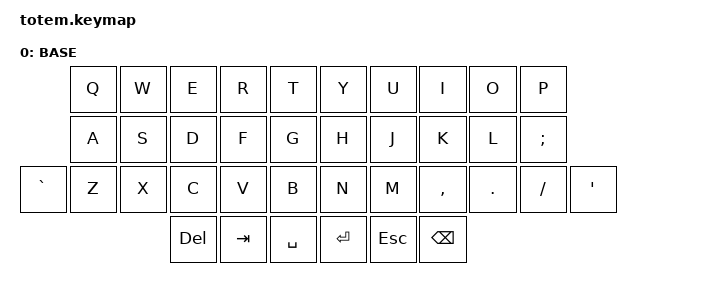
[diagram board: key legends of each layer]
//
//                                                        ▀▀▀▀▀     ▀▀▀▀▀          ▀▀█▀▀
//                                                        ▄▀▀▀▄  ▄  ▄▀▀▀▄  ▄  ▄▀▀▀▄  █  ▄▀▀▀▄
//                                                        █   █  █  █   █  █  █   █  █  █   █
//                                                         ▀▀▀   █   ▀▀▀   █   ▀▀▀   ▀   ▀▀▀
//                                                               █      ▄▄▄█▄▄▄    █   █  
//                                                               ▀      █  █  █     █▄█
//                                                             ▀▀▀▀▀    █  █  █      ▀
//                                                                      ▀  ▀  ▀
//
// ▄▄▄▄▄▄▄▄▄▄▄▄▄▄▄▄▄▄▄▄▄▄▄▄▄▄▄▄▄▄▄▄▄▄▄▄▄▄▄▄▄▄▄▄▄▄▄▄▄▄▄▄▄▄▄▄▄▄▄▄▄▄▄▄▄▄▄▄▄▄▄▄▄▄▄▄▄▄▄▄▄▄▄▄▄▄▄▄▄▄▄▄▄▄▄▄▄▄▄▄▄▄▄▄▄▄▄▄▄▄▄▄▄▄▄▄▄▄▄▄▄▄▄▄▄▄▄▄▄▄▄▄▄▄▄▄▄▄▄▄▄▄▄▄▄▄▄▄▄
       

#include <behaviors.dtsi>
#include <dt-bindings/zmk/keys.h>
#include <dt-bindings/zmk/bt.h>
#include <dt-bindings/zmk/outputs.h>

#define BASE 0

/ {
        keymap {
                compatible = "zmk,keymap";
// ▄▄▄▄▄▄▄▄▄▄▄▄▄▄▄▄▄▄▄▄▄▄▄▄▄▄▄▄▄▄▄▄▄▄▄▄▄▄▄▄▄▄▄▄▄▄▄▄▄▄▄▄▄▄▄▄▄▄▄▄▄▄▄▄▄▄▄▄▄▄▄▄▄▄▄▄▄▄▄▄▄▄▄▄▄▄▄▄▄▄▄▄▄▄▄▄▄▄▄▄▄▄▄▄▄▄▄▄▄▄▄▄▄▄▄▄▄▄▄▄▄▄▄▄▄▄▄▄▄▄▄▄▄▄▄▄▄▄▄▄▄▄▄▄▄▄▄▄▄

                base_layer {
// ┏━━━━━━━━━━━━━━━━━━━━━━━━━━━━━━━━━━━━━━━┓
label= "BASE"                              ;
// ┗━━━━━━━━━━━━━━━━━━━━━━━━━━━━━━━━━━━━━━━┛
//             ┏━━━━━━━━━━━┳━━━━━━━━━━━┳━━━━━━━━━━━┳━━━━━━━━━━━┳━━━━━━━━━━━┓   ┏━━━━━━━━━━━┳━━━━━━━━━━━┳━━━━━━━━━━━┳━━━━━━━━━━━┳━━━━━━━━━━━┓
//             ┃     Q     ┃     W     ┃     E     ┃     R     ┃     T     ┃   ┃     Y     ┃     U     ┃     I     ┃     O     ┃     P     ┃
//             ┣━━━━━━━━━━━╋━━━━━━━━━━━╋━━━━━━━━━━━╋━━━━━━━━━━━╋━━━━━━━━━━━┫   ┣━━━━━━━━━━━╋━━━━━━━━━━━╋━━━━━━━━━━━╋━━━━━━━━━━━╋━━━━━━━━━━━┫
//             ┃     A     ┃     S     ┃     D     ┃     F     ┃     G     ┃   ┃     H     ┃     J     ┃     K     ┃     L     ┃     ;     ┃
// ┏━━━━━━━━━━━╋━━━━━━━━━━━╋━━━━━━━━━━━╋━━━━━━━━━━━╋━━━━━━━━━━━╋━━━━━━━━━━━┫   ┣━━━━━━━━━━━╋━━━━━━━━━━━╋━━━━━━━━━━━╋━━━━━━━━━━━╋━━━━━━━━━━━╋━━━━━━━━━━━┓
// ┃     `     ┃     Z     ┃     X     ┃     C     ┃     V     ┃     B     ┃   ┃     N     ┃     M     ┃     ,     ┃     .     ┃     /     ┃     \     ┃
// ┗━━━━━━━━━━━┻━━━━━━━━━━━┻━━━━━━━━━━━╋━━━━━━━━━━━╋━━━━━━━━━━━╋━━━━━━━━━━━┫   ┣━━━━━━━━━━━╋━━━━━━━━━━━╋━━━━━━━━━━━╋━━━━━━━━━━━┻━━━━━━━━━━━┻━━━━━━━━━━━┛
//                                     ┃    DEL    ┃    TAB    ┃    SPC    ┃   ┃   ENTER   ┃    ESC    ┃   BSPC    ┃
//                                     ┗━━━━━━━━━━━┻━━━━━━━━━━━┻━━━━━━━━━━━┛   ┗━━━━━━━━━━━┻━━━━━━━━━━━┻━━━━━━━━━━━┛
 bindings = <
// ╷           ╷           ╷           ╷           ╷           ╷           ╷   ╷           ╷           ╷           ╷           ╷           ╷           ╷
                &kp Q       &kp W       &kp E        &kp R       &kp T          &kp Y       &kp U       &kp I       &kp O       &kp P
                &kp A       &kp S       &kp D        &kp F       &kp G          &kp H       &kp J       &kp K       &kp L       &kp SEMICOLON
    &kp GRAVE   &kp Z       &kp X       &kp C        &kp V       &kp B          &kp N       &kp M       &kp COMMA   &kp DOT     &kp FSLH    &kp SQT
                                        &kp DEL      &kp TAB     &kp SPACE      &kp RET     &kp ESC     &kp BSPC
            >;
                };
        };
// ▄▄▄▄▄▄▄▄▄▄▄▄▄▄▄▄▄▄▄▄▄▄▄▄▄▄▄▄▄▄▄▄▄▄▄▄▄▄▄▄▄▄▄▄▄▄▄▄▄▄▄▄▄▄▄▄▄▄▄▄▄▄▄▄▄▄▄▄▄▄▄▄▄▄▄▄▄▄▄▄▄▄▄▄▄▄▄▄▄▄▄▄▄▄▄▄▄▄▄▄▄▄▄▄▄▄▄▄▄▄▄▄▄▄▄▄▄▄▄▄▄▄▄▄▄▄▄▄▄▄▄▄▄▄▄▄▄▄▄▄▄▄▄▄▄▄▄▄▄
};
